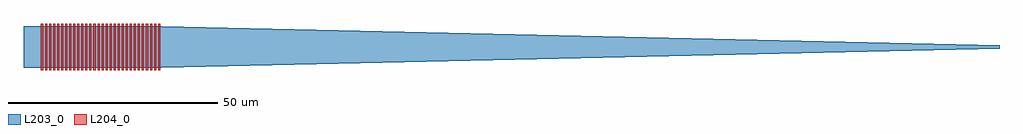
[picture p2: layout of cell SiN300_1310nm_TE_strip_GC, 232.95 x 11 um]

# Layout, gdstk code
import gdstk
lib = gdstk.Library(unit=1e-6, precision=1e-09)
def R(c, l, rs):  # rectangles x0, y0, x1, y1
    for r in rs: c.add(gdstk.rectangle(r[:2], r[2:], *l))
def A(c, l, x, y, w, h, nx, ny, dx, dy):  # array of equal rectangles
    R(c, l, [(x+i*dx, y+j*dy, x+i*dx+w, y+j*dy+h) for i in range(nx) for j in range(ny)])
def P(c, l, *ps):  # polygons
    for p in ps: c.add(gdstk.Polygon(p, *l))
L203_0 = (203, 0)
L204_0 = (204, 0)

sin300_1310nm_te_strip_g = lib.new_cell('SiN300_1310nm_TE_strip_GC')
P(sin300_1310nm_te_strip_g, L203_0, [(-232.953,-5),(-232.953,5),(-200,5),(0,0.475),(0,-0.475),(-200,-5)])
A(sin300_1310nm_te_strip_g, L204_0, -228.78, -5.5, 0.482, 11, 30, 1, 0.964, 0)

lib.write_gds('SiN300_1310nm_TE_strip_GC.gds')
